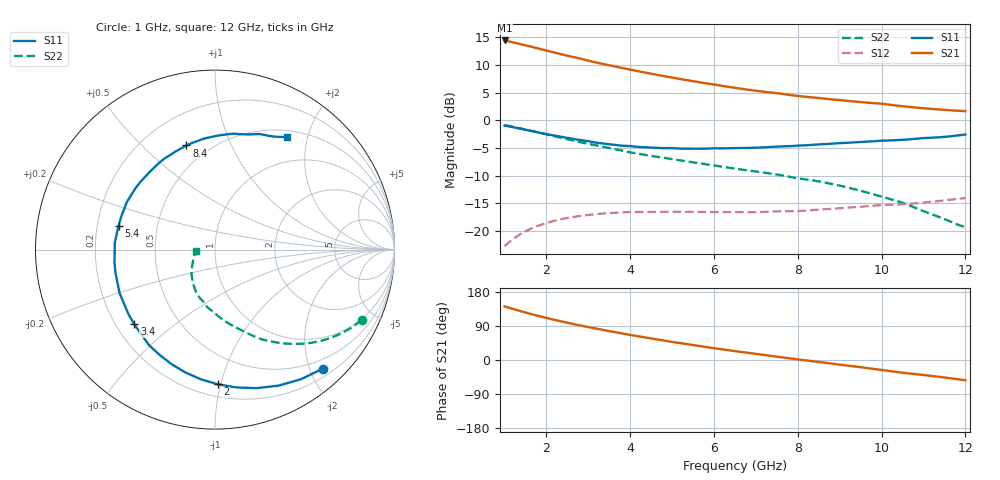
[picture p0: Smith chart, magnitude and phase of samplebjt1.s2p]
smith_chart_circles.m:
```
%% Placing Circles on a Smith Chart
% The RF Toolbox has a variety of options for the visualization of RF data.
% This demo focuses on the Smith chart and first highlights the use of the
% Smith chart for investigating the stability regions of an amplifier.
% Then, the constant noise figure circles of an amplifier are visualized.

%   Copyright 2004 The MathWorks, Inc.
%   $Revision: 1.1.6.2 $ $Date: 2004/04/20 23:19:52 $

%% S-parameter Data
% First, we define the S-parameters for the amplifier by reading in data
% from a file and then analyzing it in frequency domain at the operating
% frequency 2GHz. 
hckt = rfckt.datafile;
set(hckt, 'File', 'samplebjt1.s2p');
freq = 2e9;
analyze(hckt, freq)

%%
% For convenience we extract the S-parameters from the circuit object and 
% deal each S-parameter into its own variable.
s_params = get(get(hckt,'RFdata'),'S_Parameters');
[s11, s12, s21, s22] = ...
    deal(s_params(1,1), s_params(1,2), s_params(2,1), s_params(2,2));

%% Stability Circles
% Now we calculate the radius and center of the input stability circle 
% based on the S-parameters at 2GHz.
delta = s11*s22-s12*s21;
radius = abs(s12*s21/(abs(s11)^2-abs(delta)^2));
center = conj(s11-conj(s22)*delta)/(abs(s11)^2-abs(delta)^2);

%%
% Using the radius and center we calculate points on the circle.
theta = [0:.01:2]*pi;
incirc = radius*exp(j*theta)+center;

%%
% Similarly, we calculate the radius and center of the output stability 
% circle and use the radius and center to calculate points on the circle.
radius = abs(s12*s21/(abs(s11)^2-abs(delta)^2));
center = conj(s22-conj(s11)*delta)/(abs(s22)^2-abs(delta)^2);
outcirc = radius*exp(j*theta)+center;

%%
% Using these points, we plot the input and output stability circles on the
% Smith chart. 
smithchart;
hold on
hl1 = plot(incirc,   'b-', 'LineWidth', 2);
hl2 = plot(outcirc, 'g--', 'LineWidth', 2);
legend([hl1 hl2], 'Input Stability Circle', 'Output Stability Circle', ...
    'Location','NorthWestOutside');

%%
% The magnitudes of s11 and s22 are both less than unity. As a result, the
% center of the Smith chart represents a stable operating point. We label 
% the Smith chart accordingly.
text(0, 0, 'Stable Region', 'HorizontalAlignment', 'center', ...
    'FontSize', 12, 'FontUnits', 'normalized', 'FontWeight', 'Bold');
hold off

%% Noise Figure Circles
% We start with the amplifier noise parameters measured at 2GHz.  
FmindB = 0.8457;      
Fmin = 10.^(FmindB/10);
gammaOpt = 0.4030*exp(j*pi*56.9641/180);     
rn = 0.2179; 

%%
% We will draw constant noise figure circles for noise figures at
% increments of 0.05, 0.15, and 0.25 dB above the minimum.
FdB = FmindB+[0.05 0.15 0.25];
Fmin = 10.^(FmindB/10);
F = 10.^(FdB/10);

%%
% We calculate the radius and center of the constant noise figure circles 
% based on the defined noise parameters. 
N = abs(1+gammaOpt)^2*(F-Fmin)/(4*rn);
radius = sqrt((1-abs(gammaOpt)^2)*N+N.^2)./(1+N);
center = gammaOpt./(1+N);

%%
% Using the radius and center of the constant noise figure circles we 
% calculate points on each of the circles.
circ1 = radius(1)*exp(j*[0:.01:2]*pi)+center(1);
circ2 = radius(2)*exp(j*[0:.01:2]*pi)+center(2);
circ3 = radius(3)*exp(j*[0:.01:2]*pi)+center(3);

%%
% Using these points, we plot the constant noise figure circles on the 
% Smith chart.
smithchart;
hold on
hl1 = plot(circ1, 'b-' , 'LineWidth', 2);
hl2 = plot(circ2, 'g--', 'LineWidth', 2);
hl3 = plot(circ3, 'r-.', 'LineWidth', 2);
legend([hl1 hl2 hl3], ...
        [num2str(FdB(1),2) ' dB noise figure'],...
        [num2str(FdB(2),2) ' dB noise figure'],...
        [num2str(FdB(3),2) ' dB noise figure'], ...
        'Location','NorthWestOutside');

%%
% We plot the location of the minimum noise figure as well. All constant
% noise figure circles have their centers located along the line connecting
% the center of the Smith chart and this point.
plot([0 real(gammaOpt)], [0 imag(gammaOpt)], 'k', ...
     real(gammaOpt), imag(gammaOpt), 'k.', ...
     'LineWidth', 2, 'MarkerSize', 20);
text(max(real(circ3)),max(imag(circ3)), ...
     ['   F_{min}= ' num2str(FmindB,2) ' dB'], 'FontSize', 10, ...
     'FontUnits', 'normalized', 'FontWeight', 'Bold');
text(real(gammaOpt), imag(gammaOpt), ...
     '   \Gamma_{opt}', 'FontSize', 10, ...
     'FontUnits', 'normalized', 'FontWeight', 'Bold');
hold off
```
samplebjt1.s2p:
# GHz S MA R 50
! S-Parameters data
! FREQ  magS11  angS11  magS21  angS21  magS12  angS12  magS22  angS22
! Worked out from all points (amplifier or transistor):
!   56 points, 1 GHz to 12 GHz, reference 50 ohm
!   highest |S21| = 14.4 dB at 1 GHz (marker M1)
!   |S21| within 3 dB of that: start of sweep to 2.639 GHz
!   unconditionally stable (mu >= 1): 6.403 GHz to 11.9 GHz
!   at 2.8 GHz: K = 0.46, MSG = 14.2 dB, |S12| = -17.3 dB
!   at 6.6 GHz: K = 1.03, MAG = 10.2 dB, |S12| = -16.6 dB
!   at 12 GHz: K = 0.98, MSG = 7.9 dB, |S12| = -14.1 dB
!   lowest NFmin = 0.42 dB at 1 GHz
!   S11 on the Smith chart (normalised r, x): 1 GHz: 0.33, -2.22; 2 GHz: 0.28, -0.98; 3.4 GHz: 0.27, -0.37; 5.4 GHz: 0.29, +0.11; 8.4 GHz: 0.38, +0.69; 12 GHz: 0.60, +1.67
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1  0.8952 -47.8  5.272 141.4  0.0727 61.5  0.9061 -25.7
1.4  0.836 -65.1  4.863 128.3  0.0946 50.7  0.8408 -34.0
2  0.7504 -88.9  4.274 110.9  0.1179 37.2  0.7455 -44.2
2.6  0.6826 -110.8  3.76 95.9  0.1329 26.2  0.6605 -52.5
3.4  0.613 -137.2  3.201 78.3  0.144 14.3  0.5712 -61.7
4.4  0.5692 -167.1  2.681 58.7  0.1483 2.6  0.4831 -70.6
5.4  0.5539 166.0  2.289 41.0  0.1486 -5.5  0.422 -79.0
6.6  0.5613 138.2  1.941 21.9  0.1476 -12.2  0.361 -89.0
8.4  0.6016 105.3  1.603 -3.8  0.1546 -17.8  0.2845 -106.8
10  0.6539 81.0  1.412 -26.3  0.171 -24.7  0.2041 -128.8
12  0.7437 57.4  1.209 -53.4  0.1978 -32.4  0.1077 -176.7
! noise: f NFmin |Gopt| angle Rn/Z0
1  0.4181  0.6365  21.07  0.268
1.5  0.6944  0.4451  38.39  0.2287
2  0.8457  0.403  56.96  0.2179
2.5  0.947  0.4229  70.8  0.2122
3  1.1  0.365  96  0.161
3.5  1.189  0.3134  118  0.1247
4  1.278  0.2617  141.5  0.106
4.5  1.44  0.1982  169.7  0.1202
5  1.589  0.1901  204.6  0.139
6  1.72  0.346  220.8  0.152
